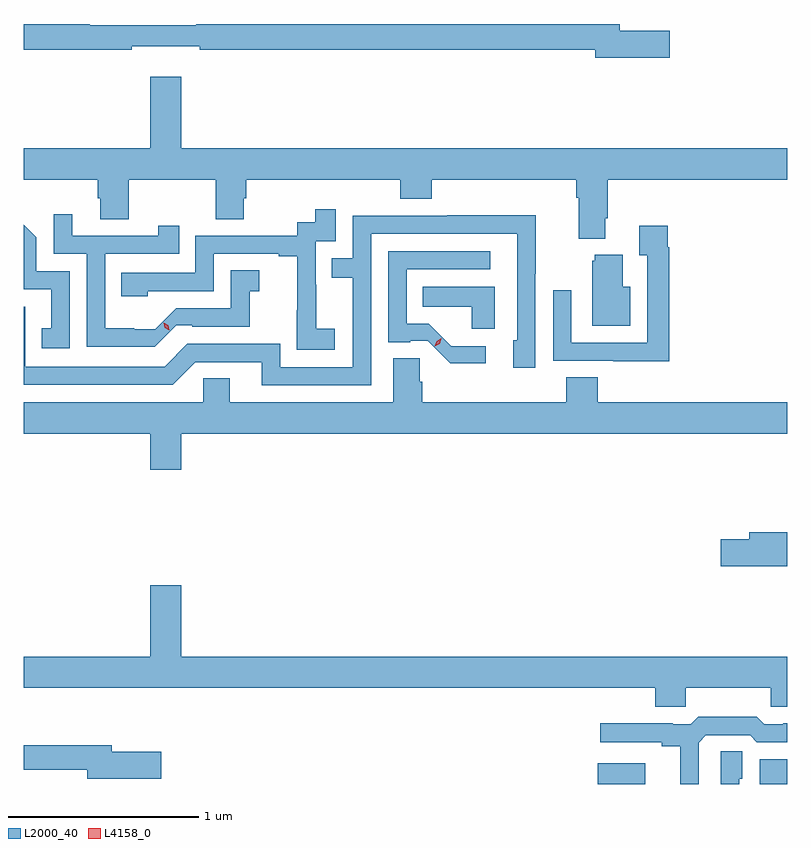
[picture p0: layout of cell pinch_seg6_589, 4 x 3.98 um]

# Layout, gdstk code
import gdstk
lib = gdstk.Library(unit=1e-6, precision=1e-09)
def R(c, l, rs):  # rectangles x0, y0, x1, y1
    for r in rs: c.add(gdstk.rectangle(r[:2], r[2:], *l))
def P(c, l, *ps):  # polygons
    for p in ps: c.add(gdstk.Polygon(p, *l))
L2000_40 = (2000, 40)
L4158_0 = (4158, 0)

pinch_seg6_589 = lib.new_cell('pinch_seg6_589')
R(pinch_seg6_589, L2000_40, [(503.018,985.46,503.269,985.57), (503.867,985.46,504.011,985.591)])
P(pinch_seg6_589, L2000_40, [(503.395,989.408),(503.134,989.408),(503.134,989.444),(500.913,989.444),(500.913,989.437),(500.355,989.437),(500.355,989.444),(500.011,989.444),(500.011,989.308),(500.576,989.308),(500.576,989.327),(500.932,989.327),(500.932,989.308),(503.006,989.308),(503.006,989.266),(503.395,989.266)],
  [(500.836,989.167),(500.672,989.167),(500.672,988.792),(500.011,988.792),(500.011,988.628),(500.399,988.628),(500.399,988.53),(500.411,988.53),(500.411,988.42),(500.559,988.42),(500.559,988.628),(501.016,988.628),(501.016,988.42),(501.163,988.42),(501.163,988.53),(501.176,988.53),(501.176,988.628),(501.983,988.628),(501.983,988.529),(502.148,988.529),(502.148,988.628),(502.907,988.628),(502.907,988.532),(502.919,988.532),(502.919,988.319),(503.059,988.319),(503.059,988.426),(503.072,988.426),(503.072,988.628),(504.011,988.628),(504.011,988.792),(500.836,988.792)],
  [(501.64,987.847),(501.542,987.847),(501.542,988.076),(501.54,988.076),(501.54,988.305),(501.645,988.305),(501.645,988.474),(501.537,988.474),(501.537,988.404),(501.444,988.404),(501.444,988.335),(500.91,988.335),(500.91,988.14),(500.521,988.14),(500.521,988.016),(500.661,988.016),(500.661,988.044),(501.006,988.044),(501.006,988.239),(501.347,988.239),(501.347,988.227),(501.443,988.227),(501.443,987.943),(501.442,987.943),(501.442,987.737),(501.64,987.737)],
  [(500.808,987.864),(500.893,987.864),(500.893,987.858),(501.195,987.858),(501.195,988.043),(501.244,988.043),(501.244,988.153),(501.096,988.153),(501.096,987.954),(500.809,987.954),(500.698,987.843),(500.588,987.843),(500.588,987.85),(500.436,987.85),(500.436,988.239),(500.825,988.239),(500.825,988.387),(500.714,988.387),(500.714,988.335),(500.263,988.335),(500.263,988.447),(500.166,988.447),(500.166,988.239),(500.34,988.239),(500.34,987.753),(500.697,987.753)],
  [(501.831,988.344),(502.596,988.344),(502.596,987.786),(502.577,987.786),(502.577,987.642),(502.692,987.642),(502.692,988.135),(502.695,988.135),(502.695,988.442),(502.231,988.442),(502.231,988.44),(501.735,988.44),(501.735,988.215),(501.625,988.215),(501.625,988.114),(501.735,988.114),(501.735,987.645),(501.354,987.645),(501.354,987.768),(500.868,987.768),(500.748,987.648),(500.019,987.648),(500.019,987.963),(500.011,987.963),(500.011,987.552),(500.79,987.552),(500.91,987.672),(501.257,987.672),(501.257,987.549),(501.831,987.549)],
  [(500.25,988.149),(500.076,988.149),(500.076,988.326),(500.011,988.391),(500.011,988.053),(500.153,988.053),(500.153,987.849),(500.104,987.849),(500.104,987.744),(500.25,987.744)],
  [(503.393,988.274),(503.386,988.274),(503.386,988.387),(503.237,988.387),(503.237,988.231),(503.277,988.231),(503.277,987.774),(502.881,987.774),(502.881,988.048),(502.785,988.048),(502.785,987.678),(503.101,987.678),(503.101,987.677),(503.393,987.677)],
  [(502.432,987.756),(502.251,987.756),(502.134,987.873),(502.017,987.873),(502.017,988.158),(502.456,988.158),(502.456,988.254),(501.921,988.254),(501.921,987.777),(502.037,987.777),(502.037,987.783),(502.127,987.783),(502.246,987.665),(502.432,987.665)],
  [(503.188,988.066),(503.149,988.066),(503.149,988.234),(503.003,988.234),(503.003,988.203),(502.991,988.203),(502.991,987.863),(503.188,987.863)],
  [(502.48,988.066),(502.102,988.066),(502.102,987.962),(502.358,987.962),(502.358,987.847),(502.48,987.847)],
  [(500.836,987.296),(504.011,987.296),(504.011,987.46),(503.018,987.46),(503.018,987.593),(502.853,987.593),(502.853,987.46),(502.1,987.46),(502.1,987.569),(502.086,987.569),(502.086,987.692),(501.947,987.692),(501.947,987.46),(501.091,987.46),(501.091,987.587),(500.952,987.587),(500.952,987.46),(500.011,987.46),(500.011,987.296),(500.672,987.296),(500.672,987.108),(500.836,987.108)],
  [(504.011,986.78),(503.813,986.78),(503.813,986.744),(503.664,986.744),(503.664,986.602),(504.011,986.602)],
  [(503.481,985.964),(503.926,985.964),(503.926,985.866),(504.011,985.866),(504.011,986.128),(500.836,986.128),(500.836,986.503),(500.672,986.503),(500.672,986.128),(500.011,986.128),(500.011,985.964),(503.321,985.964),(503.321,985.866),(503.481,985.866)],
  [(503.547,985.677),(503.586,985.716),(503.817,985.716),(503.853,985.68),(504.011,985.68),(504.011,985.778),(503.992,985.778),(503.992,985.773),(503.892,985.773),(503.853,985.813),(503.545,985.813),(503.505,985.773),(503.411,985.773),(503.411,985.778),(503.031,985.778),(503.031,985.68),(503.354,985.68),(503.354,985.658),(503.45,985.658),(503.45,985.46),(503.547,985.46)],
  [(500.731,985.629),(500.47,985.629),(500.47,985.663),(500.011,985.663),(500.011,985.534),(500.342,985.534),(500.342,985.487),(500.731,985.487)],
  [(503.76,985.488),(503.776,985.488),(503.776,985.631),(503.664,985.631),(503.664,985.46),(503.76,985.46)])
P(pinch_seg6_589, L4158_0, [(502.165,987.755),(502.165,987.755),(502.174,987.782),(502.199,987.796),(502.199,987.796),(502.199,987.795),(502.19,987.769),(502.165,987.755)],
  [(500.773,987.838),(500.75,987.852),(500.743,987.877),(500.743,987.877),(500.743,987.877),(500.766,987.864),(500.773,987.838),(500.773,987.838)])

lib.write_gds('pinch_seg6_589.gds')
